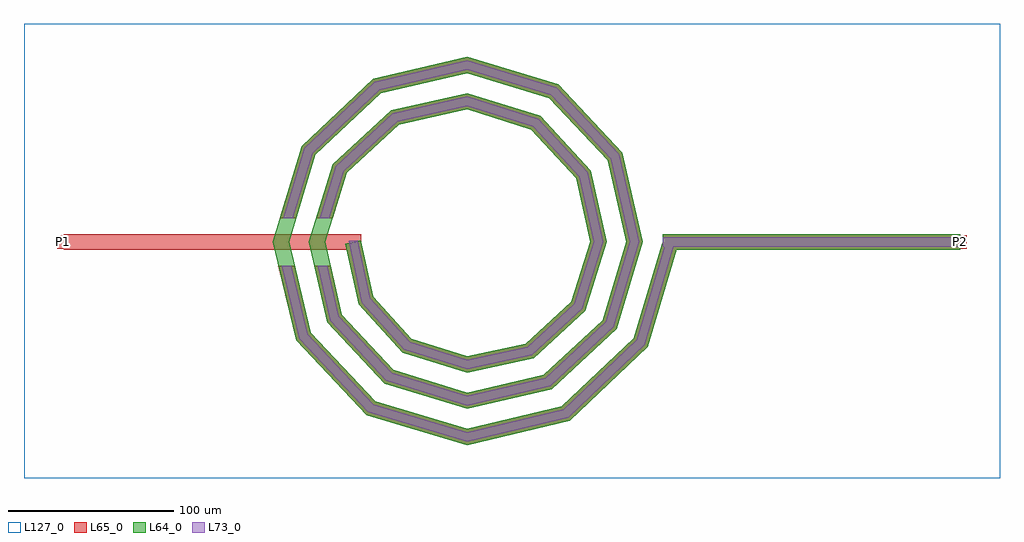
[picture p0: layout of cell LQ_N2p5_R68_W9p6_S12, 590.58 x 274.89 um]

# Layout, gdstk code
import gdstk
lib = gdstk.Library(unit=1e-6, precision=1e-09)
def R(c, l, rs):  # rectangles x0, y0, x1, y1
    for r in rs: c.add(gdstk.rectangle(r[:2], r[2:], *l))
def P(c, l, *ps):  # polygons
    for p in ps: c.add(gdstk.Polygon(p, *l))
L64_0 = (64, 0)
L65_0 = (65, 0)
L73_0 = (73, 0)
L127_0 = (127, 0)

lq_n2p5_r68_w9p6_s12 = lib.new_cell('LQ_N2p5_R68_W9p6_S12')
R(lq_n2p5_r68_w9p6_s12, L64_0, [(118.601,-4.8,298.601,4.8)])
P(lq_n2p5_r68_w9p6_s12, L64_0, [(-56.724,-33.025),(-33.527,-58.536),(0.227,-69.278),(35.741,-61.462),(63.258,-36.272),(74.739,0.212),(66.199,38.459),(39.015,67.981),(0.198,80.201),(-41.179,70.935),(-72.704,41.756),(-85.662,0.186),(-75.671,-43.9),(-44.497,-77.429),(0.176,-91.124),(46.622,-80.406),(82.154,-47.236),(96.586,0.166),(85.141,49.345),(49.975,86.879),(0.158,102.047),(-52.068,89.875),(-91.605,52.712),(-107.509,0.15),(-94.609,-54.793),(-55.449,-96.332),(0.143,-112.971),(57.518,-99.342),(101.059,-58.186),(118.8,1.37),(128.001,-1.37),(109.524,-63.394),(62.241,-108.087),(0.143,-122.906),(-60.669,-104.79),(-103.36,-59.505),(-117.444,0.15),(-100.056,57.944),(-56.767,98.633),(0.158,111.982),(55.219,95.322),(93.907,54.029),(106.52,0.166),(90.587,-52.496),(51.29,-89.181),(0.176,-101.057),(-49.773,-85.852),(-84.456,-48.55),(-95.595,0.186),(-81.116,47.052),(-45.809,79.731),(0.198,90.133),(44.331,76.379),(75.007,43.066),(84.67,0.212),(71.641,-41.612),(40.322,-70.284),(0.227,-79.208),(-38.895,-66.902),(-65.561,-37.576),(-73.472,-1.015),(-64.089,1.015)])
R(lq_n2p5_r68_w9p6_s12, L65_0, [(-243.981,-4.8,-63.981,4.8), (118.601,-4.8,298.601,4.8), (-247.981,-4,-239.981,4), (294.601,-4,302.601,4)])
P(lq_n2p5_r68_w9p6_s12, L65_0, [(-94.609,-54.793),(-55.449,-96.332),(0.143,-112.971),(57.518,-99.342),(101.059,-58.186),(118.8,1.37),(128.001,-1.37),(109.524,-63.394),(62.241,-108.087),(0.143,-122.906),(-60.669,-104.79),(-103.36,-59.505),(-114.009,-14.4),(-104.145,-14.4)],
  [(-75.671,-43.9),(-44.497,-77.429),(0.176,-91.124),(46.622,-80.406),(82.154,-47.236),(96.586,0.166),(85.141,49.345),(49.975,86.879),(0.158,102.048),(-52.068,89.875),(-91.605,52.712),(-103.132,14.4),(-113.157,14.4),(-100.056,57.944),(-56.767,98.633),(0.158,111.982),(55.22,95.322),(93.907,54.029),(106.52,0.166),(90.587,-52.496),(51.29,-89.181),(0.176,-101.057),(-49.773,-85.852),(-84.456,-48.55),(-92.261,-14.4),(-82.414,-14.4)],
  [(-33.527,-58.536),(0.227,-69.278),(35.741,-61.462),(63.258,-36.272),(74.739,0.212),(66.199,38.459),(39.015,67.981),(0.198,80.201),(-41.179,70.936),(-72.704,41.756),(-81.156,14.4),(-91.204,14.4),(-81.116,47.052),(-45.809,79.731),(0.198,90.133),(44.331,76.379),(75.007,43.066),(84.67,0.212),(71.641,-41.612),(40.322,-70.284),(0.227,-79.208),(-38.895,-66.902),(-65.561,-37.576),(-73.472,-1.015),(-64.089,1.015),(-56.724,-33.025)])
R(lq_n2p5_r68_w9p6_s12, L73_0, [(118.601,-2.8,298.601,2.8)])
P(lq_n2p5_r68_w9p6_s12, L73_0, [(-96.432,-55.774),(-56.537,-98.094),(0.084,-115.041),(58.502,-101.164),(102.822,-59.271),(120.717,0.799),(126.084,0.799),(107.76,-62.309),(61.257,-106.265),(0.084,-120.836),(-59.581,-103.028),(-101.537,-58.523),(-111.954,-14.4),(-106.2,-14.4)],
  [(-77.501,-44.868),(-45.596,-79.183),(0.102,-93.193),(47.594,-82.234),(83.911,-48.332),(98.655,0.097),(86.967,50.32),(51.067,88.638),(0.092,104.117),(-53.047,91.7),(-93.366,53.802),(-105.22,14.4),(-111.068,14.4),(-98.296,56.854),(-55.788,96.809),(0.092,109.912),(54.127,93.563),(92.081,53.053),(104.45,0.097),(88.83,-51.4),(50.317,-87.353),(0.102,-98.988),(-48.674,-84.097),(-82.626,-47.581),(-90.21,-14.4),(-84.465,-14.4)],
  [(-34.645,-60.279),(0.133,-71.347),(36.696,-63.3),(65.004,-37.384),(76.808,0.124),(68.034,39.419),(40.122,69.73),(0.116,82.27),(-42.143,72.768),(-74.457,42.86),(-83.249,14.4),(-89.11,14.4),(-79.363,45.949),(-44.844,77.899),(0.116,88.064),(43.224,74.629),(73.172,42.106),(82.601,0.124),(69.895,-40.5),(39.368,-68.446),(0.133,-77.139),(-37.777,-65.159),(-63.72,-36.628),(-71.517,0.592),(-66.044,0.592),(-58.565,-33.973)])
R(lq_n2p5_r68_w9p6_s12, L127_0, [(-267.981,-142.906,322.601,131.982)])
lq_n2p5_r68_w9p6_s12.add(gdstk.Label('P2', (298.601,0), layer=65, texttype=0))
lq_n2p5_r68_w9p6_s12.add(gdstk.Label('P1', (-243.981,0), layer=65, texttype=0))
lq_n2p5_r68_w9p6_s12.add(gdstk.Label('P2', (302.601,0), layer=145, texttype=0))
lq_n2p5_r68_w9p6_s12.add(gdstk.Label('P1', (-247.981,0), layer=145, texttype=0))

lib.write_gds('LQ_N2p5_R68_W9p6_S12.gds')
